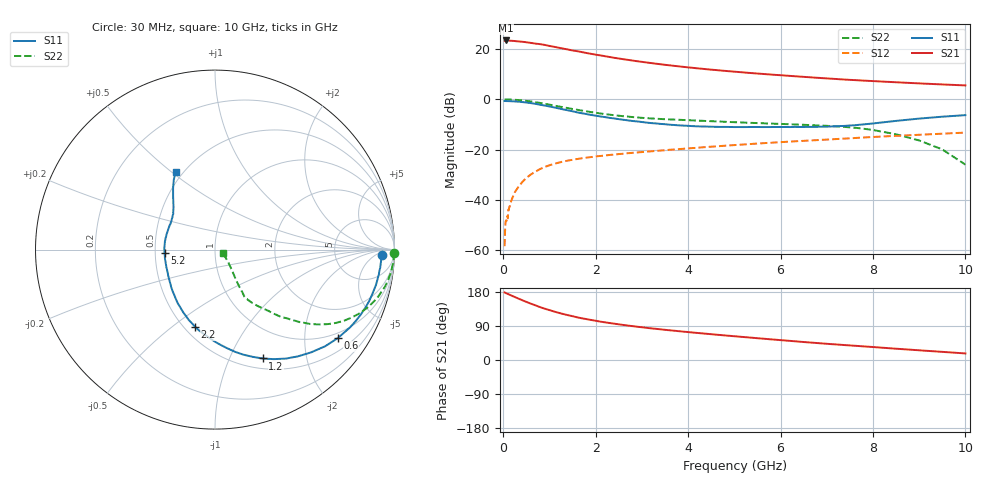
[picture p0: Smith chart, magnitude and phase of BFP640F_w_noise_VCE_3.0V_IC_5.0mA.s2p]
! Infineon Technologies  Discrete & RF Semiconductors
! BFP640F
! VCE =  3.0 V,  IC =  5.0 mA
! Common Emitter S-Parameters:  Apr 2013
# GHz  S  MA  R  50
!  f  S11  S21  S12  S22
! GHz  MAG  ANG  MAG  ANG  MAG  ANG  MAG  ANG
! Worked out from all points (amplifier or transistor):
!   99 points, 30 MHz to 10 GHz, reference 50 ohm
!   highest |S21| = 23.5 dB at 50 MHz (marker M1)
!   |S21| within 3 dB of that: start of sweep to 1.232 GHz
!   unconditionally stable (mu >= 1): 4.204 GHz to end of sweep
!   at 350 MHz: K = 0.11, MSG = 28.7 dB, |S12| = -34.3 dB
!   at 3.5 GHz: K = 0.93, MSG = 17.0 dB, |S12| = -20.2 dB
!   at 10 GHz: K = 1.11, MAG = 7.4 dB, |S12| = -13.2 dB
!   lowest NFmin = 0.52 dB at 450 MHz
!   S11 on the Smith chart (normalised r, x): 30 MHz: 23, -10; 600 MHz: 0.84, -2.87; 1.2 GHz: 0.62, -1.34; 2.2 GHz: 0.57, -0.61; 5.2 GHz: 0.56, -0.02; 10 GHz: 0.46, +0.52
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0.03  0.9294 -1.8  14.71 178.2  0.0012 65.2  0.9976 -1.1
0.04  0.9291 -2.4  14.65 177.7  0.0024 90.0  0.997 -1.4
0.05  0.9284 -3.1  14.91 177.2  0.0036 93.8  0.9977 -1.7
0.11  0.9247 -6.8  14.86 173.7  0.0064 89.5  0.9959 -4.0
0.25  0.9117 -15.3  14.54 166.2  0.0141 81.6  0.9822 -9.1
0.35  0.8978 -21.2  14.21 160.9  0.0192 78.6  0.9677 -12.6
0.45  0.8783 -27.2  13.93 155.8  0.0247 76.9  0.9475 -15.9
0.6  0.8433 -35.8  13.32 148.6  0.0322 73.3  0.9091 -20.8
0.8  0.7834 -47.0  12.6 139.4  0.0412 67.7  0.8508 -26.4
0.9  0.7529 -52.2  12.14 135.3  0.0453 65.4  0.8192 -29.0
1.2  0.6625 -66.3  10.69 124.5  0.0551 59.2  0.7256 -35.1
1.4  0.6063 -74.9  9.844 118.3  0.0606 56.4  0.671 -38.1
1.7  0.5303 -86.9  8.755 110.1  0.0673 53.0  0.5992 -41.5
2.2  0.4447 -104.4  7.247 99.4  0.0766 49.0  0.5113 -46.2
2.7  0.3823 -119.2  6.121 90.8  0.085 47.1  0.4546 -48.8
3.4  0.3259 -137.4  5.016 81.0  0.0959 45.2  0.408 -51.8
4.2  0.2913 -155.9  4.159 71.4  0.1092 43.7  0.3787 -54.0
5.1  0.2819 -174.6  3.505 61.7  0.125 41.5  0.3496 -55.9
5.2  0.2815 -176.5  3.446 60.6  0.1268 41.1  0.3464 -56.0
6.7  0.2846 155.7  2.731 45.6  0.1533 36.6  0.3067 -57.9
8.5  0.3739 128.6  2.195 29.8  0.1883 30.2  0.2025 -55.1
10  0.4866 116.8  1.9 17.3  0.2186 23.7  0.0503 -25.4
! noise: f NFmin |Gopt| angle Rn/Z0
0.45  0.52  0.39  9  0.12
0.9  0.54  0.39  20  0.12
1.5  0.58  0.37  28  0.13
1.9  0.6  0.35  43  0.13
2.4  0.65  0.32  59  0.14
3.5  0.75  0.26  79  0.15
5.5  0.99  0.21  151  0.17
10  1.71  0.44  -104  0.36
